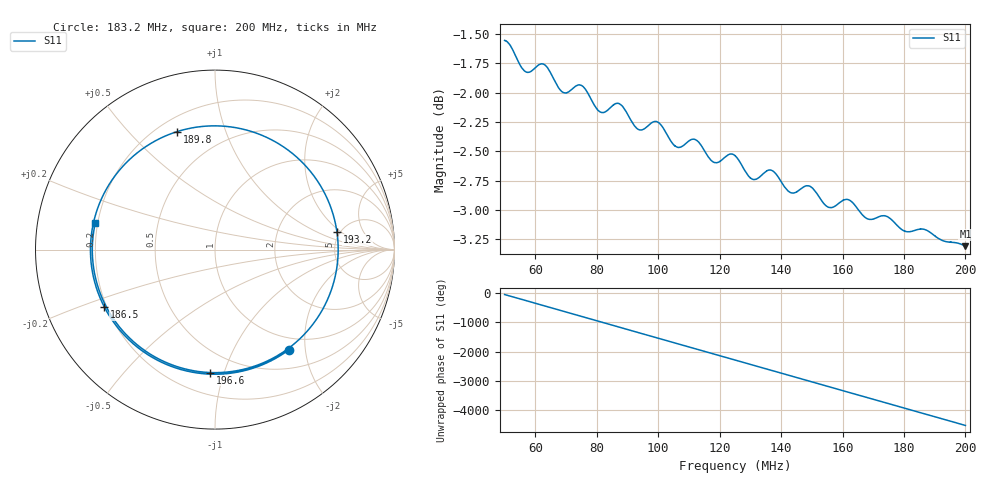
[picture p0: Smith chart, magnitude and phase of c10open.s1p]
! COPPER MOUNTAIN TECHNOLOGIES, PLANAR TR1300/1, 00071119, 20.2.2/1.0
! Date: 1/7/2024 7:25:33 PM
! Data: Format [Calibration Info]
! Freq  S11: Re/Im F1
# HZ S RI R 50
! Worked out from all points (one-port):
!   12288 points, 50 MHz to 200 MHz, reference 50 ohm
!   lowest |S11| = -3.3 dB at 200 MHz (marker M1), VSWR 5.31, Z = 9.53 + j5.56 ohm
!   |S11| at or under -10 dB: nowhere
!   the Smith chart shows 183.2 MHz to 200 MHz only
!   S11 on the Smith chart (normalised r, x): 183.2 MHz: 0.79, -1.70; 186.5 MHz: 0.19, -0.23; 189.8 MHz: 0.28, +0.69; 193.2 MHz: 4.70, +1.75; 196.6 MHz: 0.35, -0.90; 200 MHz: 0.19, +0.10
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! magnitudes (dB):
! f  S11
! 50 MHz  -1.6
! 56.38 MHz  -1.8
! 62.86 MHz  -1.8
! 68.75 MHz  -2.0
! 75.03 MHz  -1.9
! 81.58 MHz  -2.2
! 87.5 MHz  -2.1
! 93.18 MHz  -2.3
! 99.74 MHz  -2.2
! 106.3 MHz  -2.5
! 111.7 MHz  -2.4
! 118.2 MHz  -2.6
! 125 MHz  -2.5
! 130.3 MHz  -2.7
! 136.8 MHz  -2.7
! 143.8 MHz  -2.9
! 149.3 MHz  -2.8
! 155.9 MHz  -3.0
! 162.5 MHz  -2.9
! 167.9 MHz  -3.1
! 181.3 MHz  -3.2
! 183.2 MHz  -3.2
! 186.5 MHz  -3.2
! 189.8 MHz  -3.2
! 193.2 MHz  -3.3
! 196.6 MHz  -3.3
! 200 MHz  -3.3
! 200 MHz  -3.3
